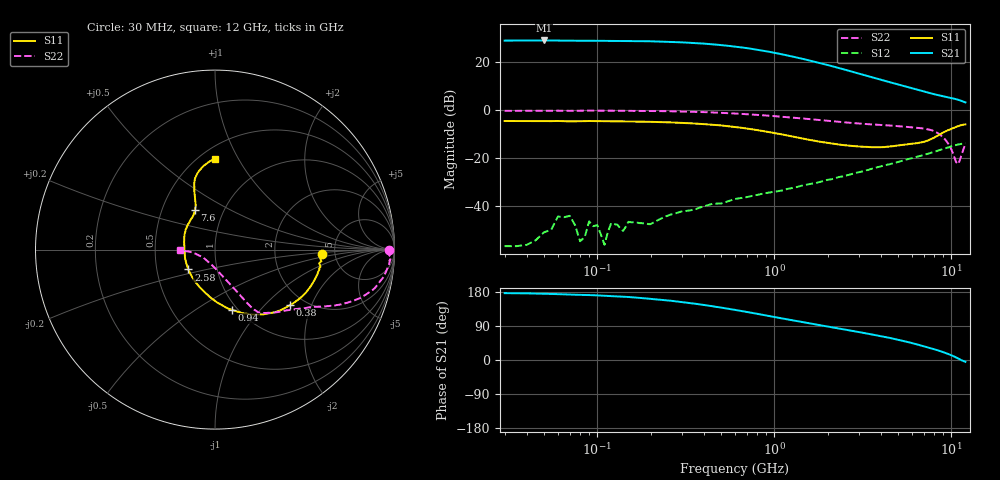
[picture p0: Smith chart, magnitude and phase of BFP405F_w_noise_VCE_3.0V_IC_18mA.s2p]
! Infineon Technologies  Discrete & RF Semiconductors
! BFP405F
! VCE =  3.0 V,  IC =  18 mA
! Common Emitter S-Parameters:  Nov 2015
# GHz  S  MA  R  50
!  f  S11  S21  S12  S22
! GHz  MAG  ANG  MAG  ANG  MAG  ANG  MAG  ANG
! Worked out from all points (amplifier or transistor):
!   239 points, 30 MHz to 12 GHz, reference 50 ohm
!   highest |S21| = 29.0 dB at 50 MHz (marker M1)
!   |S21| within 3 dB of that: start of sweep to 671.2 MHz
!   unconditionally stable (mu >= 1): 1.757 GHz to end of sweep
!   at 300 MHz: K = 0.30, MSG = 35.1 dB, |S12| = -42.0 dB
!   at 1.88 GHz: K = 1.03, MAG = 23.3 dB, |S12| = -29.5 dB
!   at 12 GHz: K = 1.37, MAG = 4.8 dB, |S12| = -13.7 dB
!   lowest NFmin = 2.14 dB at 450 MHz
!   S11 on the Smith chart (normalised r, x): 30 MHz: 3.92, -0.32; 380 MHz: 1.68, -1.42; 940 MHz: 0.94, -0.72; 2.58 GHz: 0.73, -0.17; 7.6 GHz: 0.73, +0.34; 12 GHz: 0.59, +0.81
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0.03  0.5959 -2.5  27.86 176.4  0.0015 107.1  0.9678 -0.2
0.05  0.5894 -5.2  28.04 174.6  0.0029 147.7  0.9775 -0.8
0.07  0.5855 -7.4  27.75 172.6  0.0064 16.8  0.9692 -2.2
0.085  0.5922 -8.6  27.65 171.6  0.0023 107.6  0.9771 -2.8
0.09  0.596 -9.2  27.7 171.4  0.0049 130.4  0.9787 -3.3
0.11  0.5915 -11.2  27.5 169.5  0.0016 121.5  0.9763 -3.7
0.12  0.5871 -12.5  27.44 168.9  0.0045 88.9  0.9749 -4.1
0.15  0.5828 -15.5  27.34 166.3  0.0048 83.3  0.9703 -5.4
0.24  0.563 -24.2  26.36 158.0  0.0061 87.8  0.9543 -8.7
0.3  0.5456 -29.8  25.63 152.9  0.0079 77.9  0.9376 -10.8
0.38  0.5197 -36.6  24.4 146.8  0.0095 81.6  0.9185 -13.2
0.5  0.4825 -46.4  22.49 138.3  0.0115 74.0  0.8816 -16.3
0.6  0.4481 -53.7  20.9 132.1  0.0143 73.5  0.8535 -18.4
0.7  0.4166 -60.1  19.45 126.7  0.0157 73.0  0.8243 -20.1
0.94  0.35 -74.1  16.26 115.9  0.0195 71.5  0.7655 -23.5
1.3  0.2782 -92.1  12.72 103.7  0.0246 71.0  0.6953 -27.0
1.64  0.2358 -107.2  10.41 95.5  0.0298 71.1  0.6456 -29.6
2.58  0.185 -143.4  6.722 79.2  0.0444 69.2  0.5532 -37.0
4.5  0.1766 167.3  3.797 58.2  0.0757 63.0  0.4794 -47.0
7.6  0.2462 116.9  2.25 31.6  0.1287 50.4  0.39 -57.2
10.8  0.4588 99.6  1.663 5.1  0.1917 31.9  0.0768 -123.5
12  0.5056 89.8  1.452 -4.9  0.2068 24.8  0.1957 -178.6
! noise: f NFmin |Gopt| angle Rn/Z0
0.45  2.14  0.04  -3  0.51
0.9  2.16  0.03  -6  0.3
1.5  2.2  0.02  -39  0.2
1.9  2.26  0.02  -85  0.26
2.4  2.41  0.02  -104  0.39
3  2.5  0.04  -109  0.06
3.5  2.58  0.06  -113  0.22
4.5  2.8  0.12  -102  0.4
5.5  3.09  0.21  -88  0.41
